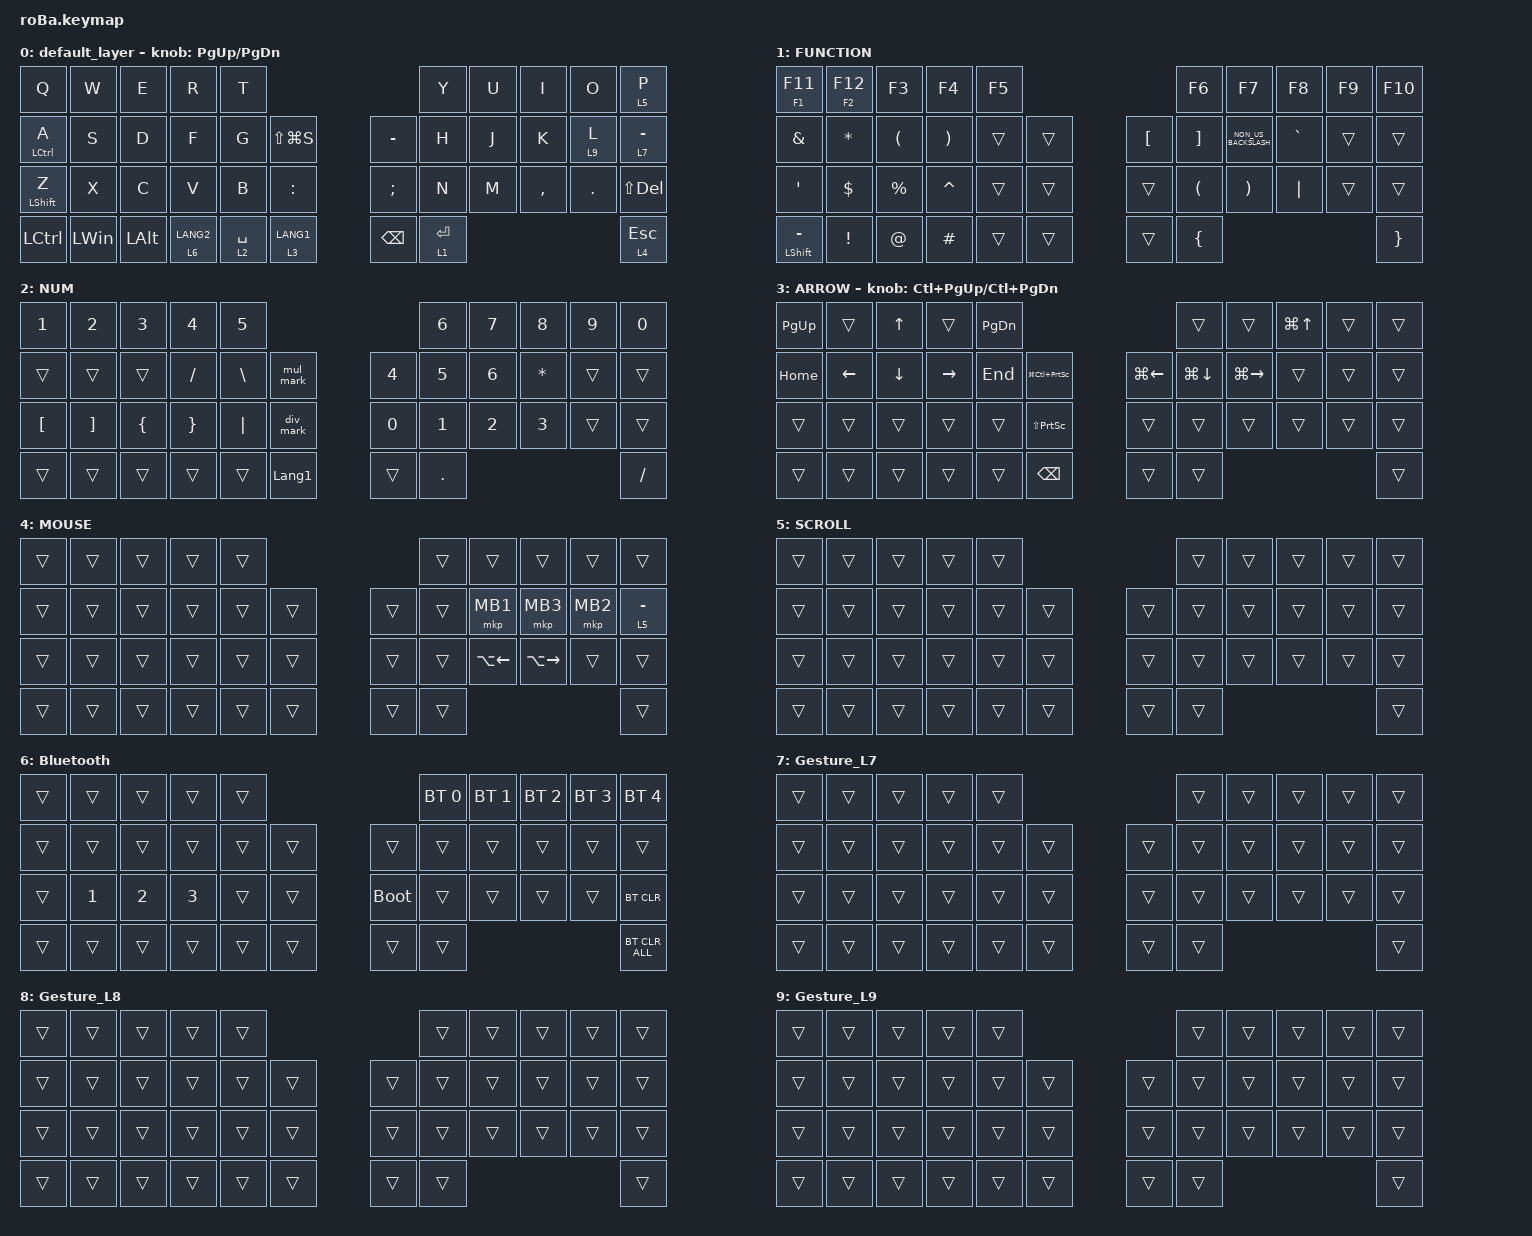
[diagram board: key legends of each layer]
#include <behaviors.dtsi>
#include <dt-bindings/zmk/bt.h>
#include <dt-bindings/zmk/keys.h>
#include <dt-bindings/zmk/pointing.h>

&mt {
    flavor = "balanced";
    quick-tap-ms = <0>;
};

/*
 * NOTE:
 * SOA39方式(Arai方式)で overlay 側に
 *   - zip_temp_layer (AML: move trackball -> temp layer 4)
 *   - scroller (scroll layer 5)
 *   - mouse gesture (L7/L8/L9)
 * を書く前提なので、ここでの &trackball { automouse-layer / scroll-layers } は削除。
 */

/ {
    combos {
        compatible = "zmk,combos";

        tab {
            bindings = <&kp TAB>;
            key-positions = <11 12>;
        };

        shift_tab {
            bindings = <&kp LS(TAB)>;
            key-positions = <12 13>;
        };

        muhennkann {
            bindings = <&to_layer_0 INT_MUHENKAN>;
            key-positions = <11 10>;
        };

        double_quotation {
            bindings = <&kp DOUBLE_QUOTES>;
            key-positions = <20 21>;
        };

        eq {
            bindings = <&kp EQUAL>;
            key-positions = <24 25>;
        };

        /* O+P (pos 8,9) を押してる間だけ Gesture_L8 に入る */
        gesture_l8_mo {
            bindings = <&mo 8>;
            key-positions = <8 9>;
        };
    };

    macros {
        to_layer_0: to_layer_0 {
            compatible = "zmk,behavior-macro-one-param";
            #binding-cells = <1>;
            bindings = <&to 0 &macro_param_1to1 &kp MACRO_PLACEHOLDER>;
            label = "TO_LAYER_0";
        };

        /* SOA39準拠: × 記号（Alt+0215） */
        mul_mark: mul_mark {
            compatible = "zmk,behavior-macro";
            #binding-cells = <0>;
            bindings =
                <&macro_press>,
                <&kp LEFT_ALT>,
                <&macro_tap>,
                <&kp KP_N0 &kp KP_N2 &kp KP_N1 &kp KP_N5>,
                <&macro_release>,
                <&kp LEFT_ALT>;
            label = "MUL_MARK";
        };

        /* SOA39準拠: ÷ 記号（Alt+0247） */
        div_mark: div_mark {
            compatible = "zmk,behavior-macro";
            #binding-cells = <0>;
            bindings =
                <&macro_press>,
                <&kp LEFT_ALT>,
                <&macro_tap>,
                <&kp KP_N0 &kp KP_N2 &kp KP_N4 &kp KP_N7>,
                <&macro_release>,
                <&kp LEFT_ALT>;
            label = "DIV_MARK";
        };
    };

    behaviors {
        lt_to_layer_0: lt_to_layer_0 {
            compatible = "zmk,behavior-hold-tap";
            label = "LAYER_TAP_TO_0";
            bindings = <&mo>, <&to_layer_0>;
            #binding-cells = <2>;
            tapping-term-ms = <200>;
        };
    };

    keymap {
        compatible = "zmk,keymap";

        /* L0 */
        default_layer {
            bindings = <
&kp Q               &kp W         &kp E         &kp R                   &kp T                                                   &kp Y        &kp U  &kp I      &kp O    &lt 5 P
&mt LEFT_CONTROL A  &kp S         &kp D         &kp F                   &kp G        &kp LS(LG(S))               &kp MINUS      &kp H        &kp J  &kp K      &lt 9 L  &lt 7 MINUS
&mt LEFT_SHIFT Z    &kp X         &kp C         &kp V                   &kp B        &kp COLON                   &kp SEMICOLON  &kp N        &kp M  &kp COMMA  &kp DOT  &kp LS(DELETE)
&kp LCTRL           &kp LEFT_WIN  &kp LEFT_ALT  &lt_to_layer_0 6 LANG2  &lt 2 SPACE  &lt_to_layer_0 3 LANG1      &kp BACKSPACE  &lt 1 ENTER                             &lt 4 ESCAPE
            >;

            sensor-bindings = <&inc_dec_kp PG_UP PAGE_DOWN>;
        };

        /* L1 (SOA39準拠に寄せる) */
        FUNCTION {
            bindings = <
&mt F1 F11            &mt F2 F12       &kp F3       &kp F4     &kp F5  &kp F6  &kp F7            &kp F8                &kp F9                 &kp F10
&kp AMPERSAND         &kp ASTRK        &kp LPAR     &kp RPAR   &trans  &trans  &kp LEFT_BRACKET  &kp RIGHT_BRACKET     &kp NON_US_BACKSLASH   &kp GRAVE   &trans  &trans
&kp SQT               &kp DOLLAR       &kp PERCENT  &kp CARET  &trans  &trans  &trans            &kp LEFT_PARENTHESIS  &kp RIGHT_PARENTHESIS  &kp PIPE    &trans  &trans
&mt LEFT_SHIFT MINUS  &kp EXCLAMATION  &kp AT_SIGN  &kp HASH   &trans  &trans  &trans            &kp LEFT_BRACE        &kp RIGHT_BRACE
            >;
        };

        /* L2 (SOA39準拠に寄せる) */
        NUM {
            bindings = <
&kp N1            &kp N2             &kp N3          &kp N4           &kp N5         &kp N6          &kp N7  &kp N8      &kp N9     &kp N0
&trans            &trans             &trans          &kp SLASH        &kp BACKSLASH  &mul_mark       &kp N4  &kp N5      &kp N6     &kp ASTERISK  &trans  &trans
&kp LEFT_BRACKET  &kp RIGHT_BRACKET  &kp LEFT_BRACE  &kp RIGHT_BRACE  &kp PIPE       &div_mark       &kp N0  &kp N1      &kp N2     &kp N3        &trans  &trans
&trans            &trans             &trans          &trans           &trans         &kp LANGUAGE_1  &trans  &kp PERIOD  &kp SLASH
            >;
        };

        /* L3 (SOA39準拠に寄せる) */
        ARROW {
            bindings = <
&kp PG_UP  &trans    &kp UP    &trans     &kp PG_DN  &trans             &trans              &kp LG(UP_ARROW)    &trans               &trans
&kp HOME   &kp LEFT  &kp DOWN  &kp RIGHT  &kp END    &kp LG(LC(PSCRN))  &kp LG(LEFT_ARROW)  &kp LG(DOWN_ARROW)  &kp LG(RIGHT_ARROW)  &trans  &trans  &trans
&trans     &trans    &trans    &trans     &trans     &kp LS(PSCRN)      &trans              &trans              &trans               &trans  &trans  &trans
&trans     &trans    &trans    &trans     &trans     &kp BACKSPACE      &trans              &trans              &trans
            >;

            sensor-bindings = <&inc_dec_kp LC(PAGE_UP) LC(PAGE_DOWN)>;
        };

        /* L4 (AMLの行き先＝MOUSE) */
        MOUSE {
            bindings = <
&trans  &trans  &trans  &trans  &trans                      &trans  &trans              &trans               &trans    &trans
&trans  &trans  &trans  &trans  &trans  &trans      &trans  &trans  &mkp MB1            &mkp MB3             &mkp MB2  &lt 5 MINUS
&trans  &trans  &trans  &trans  &trans  &trans      &trans  &trans  &kp LA(LEFT_ARROW)  &kp LA(RIGHT_ARROW)  &trans    &trans
&trans  &trans  &trans  &trans  &trans  &trans      &trans  &trans                                                     &trans
            >;
        };

        /* L5 */
        SCROLL {
            bindings = <
&trans  &trans  &trans  &trans  &trans                      &trans  &trans  &trans  &trans  &trans
&trans  &trans  &trans  &trans  &trans  &trans      &trans  &trans  &trans  &trans  &trans  &trans
&trans  &trans  &trans  &trans  &trans  &trans      &trans  &trans  &trans  &trans  &trans  &trans
&trans  &trans  &trans  &trans  &trans  &trans      &trans  &trans                          &trans
            >;
        };

        /* L6 */
        Bluetooth {
            bindings = <
&trans  &trans        &trans        &trans        &trans                           &bt BT_SEL 0  &bt BT_SEL 1  &bt BT_SEL 2  &bt BT_SEL 3  &bt BT_SEL 4
&trans  &trans        &trans        &trans        &trans  &trans      &trans       &trans        &trans        &trans        &trans        &trans
&trans  &kp NUMBER_1  &kp NUMBER_2  &kp NUMBER_3  &trans  &trans      &bootloader  &trans        &trans        &trans        &trans        &bt BT_CLR
&trans  &trans        &trans        &trans        &trans  &trans      &trans       &trans                                                  &bt BT_CLR_ALL
            >;
        };

        /* L7 */
        Gesture_L7 {
            bindings = <
&trans  &trans  &trans  &trans  &trans                      &trans  &trans  &trans  &trans  &trans
&trans  &trans  &trans  &trans  &trans  &trans      &trans  &trans  &trans  &trans  &trans  &trans
&trans  &trans  &trans  &trans  &trans  &trans      &trans  &trans  &trans  &trans  &trans  &trans
&trans  &trans  &trans  &trans  &trans  &trans      &trans  &trans                          &trans
            >;
        };

        /* L8 */
        Gesture_L8 {
            bindings = <
&trans  &trans  &trans  &trans  &trans                      &trans  &trans  &trans  &trans  &trans
&trans  &trans  &trans  &trans  &trans  &trans      &trans  &trans  &trans  &trans  &trans  &trans
&trans  &trans  &trans  &trans  &trans  &trans      &trans  &trans  &trans  &trans  &trans  &trans
&trans  &trans  &trans  &trans  &trans  &trans      &trans  &trans                          &trans
            >;
        };

        /* L9 */
        Gesture_L9 {
            bindings = <
&trans  &trans  &trans  &trans  &trans                      &trans  &trans  &trans  &trans  &trans
&trans  &trans  &trans  &trans  &trans  &trans      &trans  &trans  &trans  &trans  &trans  &trans
&trans  &trans  &trans  &trans  &trans  &trans      &trans  &trans  &trans  &trans  &trans  &trans
&trans  &trans  &trans  &trans  &trans  &trans      &trans  &trans                          &trans
            >;
        };
    };
};
